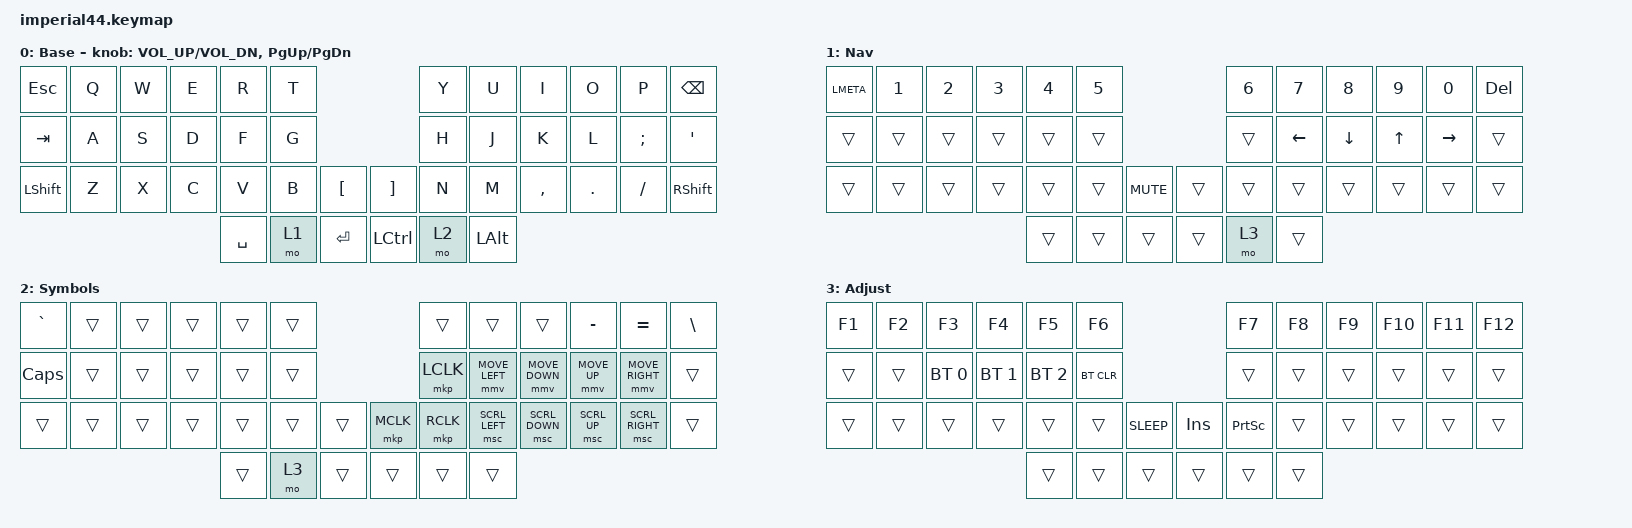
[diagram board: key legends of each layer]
#define ZMK_POINTING_DEFAULT_MOVE_VAL 1500  // default: 600
#define ZMK_POINTING_DEFAULT_SCRL_VAL 20    // default: 10

#include "keys_ru.h"
#include <behaviors.dtsi>
#include <dt-bindings/zmk/bt.h>
#include <dt-bindings/zmk/keys.h>
#include <dt-bindings/zmk/pointing.h>

/ {
    keymap {
        compatible = "zmk,keymap";

        base {
            bindings = <
&kp ESC    &kp Q  &kp W  &kp E  &kp R      &kp T                                 &kp Y  &kp U         &kp I      &kp O    &kp P      &kp BACKSPACE
&kp TAB    &kp A  &kp S  &kp D  &kp F      &kp G                                 &kp H  &kp J         &kp K      &kp L    &kp SEMI   &kp SINGLE_QUOTE
&kp LSHFT  &kp Z  &kp X  &kp C  &kp V      &kp B  &kp LBKT     &kp RBKT          &kp N  &kp M         &kp COMMA  &kp DOT  &kp SLASH  &kp RSHFT
                                &kp SPACE  &mo 1  &kp ENTER    &kp LEFT_CONTROL  &mo 2  &kp LEFT_ALT
            >;

            display-name = "Base";
            sensor-bindings =
                <&inc_dec_kp C_VOL_UP C_VOL_DN>,
                <&inc_dec_kp PG_UP PG_DN>;
        };

        nav {
            bindings = <
&kp LMETA  &kp N1  &kp N2  &kp N3  &kp N4  &kp N5                        &kp N6  &kp N7    &kp N8    &kp N9  &kp N0     &kp DELETE
&trans     &trans  &trans  &trans  &trans  &trans                        &trans  &kp LEFT  &kp DOWN  &kp UP  &kp RIGHT  &trans
&trans     &trans  &trans  &trans  &trans  &trans  &kp K_MUTE    &trans  &trans  &trans    &trans    &trans  &trans     &trans
                                   &trans  &trans  &trans        &trans  &mo 3   &trans
            >;

            display-name = "Nav";
        };

        sym {
            bindings = <
&kp GRAVE     &trans  &trans  &trans  &trans  &trans                       &trans     &trans          &trans          &kp MINUS     &kp EQUAL        &kp BACKSLASH
&kp CAPSLOCK  &trans  &trans  &trans  &trans  &trans                       &mkp LCLK  &mmv MOVE_LEFT  &mmv MOVE_DOWN  &mmv MOVE_UP  &mmv MOVE_RIGHT  &trans
&trans        &trans  &trans  &trans  &trans  &trans  &trans    &mkp MCLK  &mkp RCLK  &msc SCRL_LEFT  &msc SCRL_DOWN  &msc SCRL_UP  &msc SCRL_RIGHT  &trans
                                      &trans  &mo 3   &trans    &trans     &trans     &trans
            >;

            display-name = "Symbols";
        };

        adj {
            bindings = <
&kp F1  &kp F2  &kp F3        &kp F4        &kp F5        &kp F6                                 &kp F7           &kp F8  &kp F9  &kp F10  &kp F11  &kp F12
&trans  &trans  &bt BT_SEL 0  &bt BT_SEL 1  &bt BT_SEL 2  &bt BT_CLR                             &trans           &trans  &trans  &trans   &trans   &trans
&trans  &trans  &trans        &trans        &trans        &trans      &kp K_SLEEP    &kp INSERT  &kp PRINTSCREEN  &trans  &trans  &trans   &trans   &trans
                                            &trans        &trans      &trans         &trans      &trans           &trans
            >;

            display-name = "Adjust";
        };
    };
};
